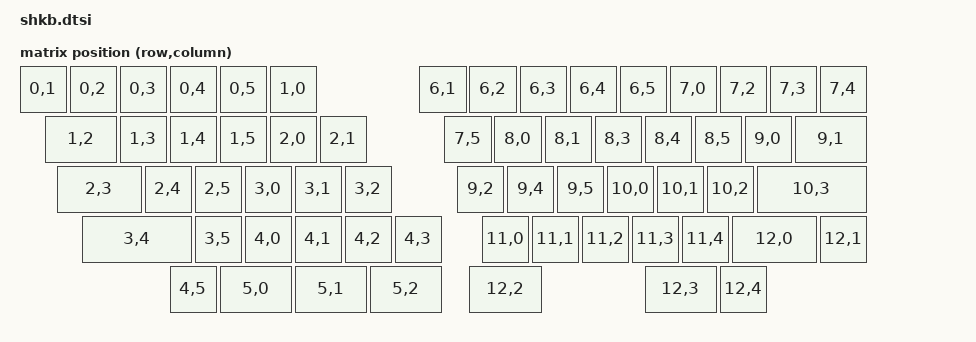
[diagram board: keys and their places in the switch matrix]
#include <dt-bindings/zmk/matrix_transform.h>
#include <physical_layouts.dtsi>

/ {
    chosen {
        /* zmk,matrix-transform and zmk,kscan are set per-shield in each overlay.
         * Keeping them here would prevent ZMK Studio (USE_PHY_LAYOUTS requires
         * zmk,matrix-transform to be absent from chosen). */
    };

    /* ==========================================================================
       Matrix transform – 62-key split HHKB (rows 0-5 = left, 6-12 = right)
       ========================================================================== */
    default_transform: matrix_transform {
        compatible = "zmk,matrix-transform";
        columns = <6>;
        rows = <13>;
        map = <
        RC(0,1)  RC(0,2)  RC(0,3)  RC(0,4)  RC(0,5)  RC(1,0)    RC(6,1)  RC(6,2)  RC(6,3)  RC(6,4)  RC(6,5)  RC(7,0)  RC(7,2)  RC(7,3)  RC(7,4)
        RC(1,2)  RC(1,3)  RC(1,4)  RC(1,5)  RC(2,0)  RC(2,1)    RC(7,5)  RC(8,0)  RC(8,1)  RC(8,3)  RC(8,4)  RC(8,5)  RC(9,0)  RC(9,1)
        RC(2,3)  RC(2,4)  RC(2,5)  RC(3,0)  RC(3,1)  RC(3,2)    RC(9,2)  RC(9,4)  RC(9,5)  RC(10,0) RC(10,1) RC(10,2) RC(10,3)
        RC(3,4)  RC(3,5)  RC(4,0)  RC(4,1)  RC(4,2)  RC(4,3)    RC(11,0) RC(11,1) RC(11,2) RC(11,3) RC(11,4) RC(12,0) RC(12,1)
                          RC(4,5)  RC(5,0)  RC(5,1)  RC(5,2)                       RC(12,2) RC(12,3) RC(12,4)
        >;
    };

    /* ==========================================================================
       Physical layout for Keymap Editor (zmk,physical-layout)
       Key order matches default_transform map exactly (62 keys).
       Coordinates in centikeyunit (100 = 1 key-unit).
         Row stagger: row0=0  row1=+50  row2=+75  row3=+125
         Left/right gap: 200 units (2u)
         Thumb row: pushed inward toward the split center
       ZMK v0.3 does not process these nodes, but the Keymap Editor
       reads them from the DTS source to render the layout.
       ========================================================================== */
    physical_layout_default: physical_layout_default {
        compatible = "zmk,physical-layout";
        display-name = "Default";
        transform = <&default_transform>;
        keys  //                     w   h     x     y   rot  rx  ry
            /* ── Row 0 : number row (stagger 0) ──────────────────── */
            /* left  : ESC 1 2 3 4 5 */
            = <&key_physical_attrs 100 100     0     0     0   0   0>
            , <&key_physical_attrs 100 100   100     0     0   0   0>
            , <&key_physical_attrs 100 100   200     0     0   0   0>
            , <&key_physical_attrs 100 100   300     0     0   0   0>
            , <&key_physical_attrs 100 100   400     0     0   0   0>
            , <&key_physical_attrs 100 100   500     0     0   0   0>
            /* right : 6 7 8 9 0 - = \ ` */
            , <&key_physical_attrs 100 100   800     0     0   0   0>
            , <&key_physical_attrs 100 100   900     0     0   0   0>
            , <&key_physical_attrs 100 100  1000     0     0   0   0>
            , <&key_physical_attrs 100 100  1100     0     0   0   0>
            , <&key_physical_attrs 100 100  1200     0     0   0   0>
            , <&key_physical_attrs 100 100  1300     0     0   0   0>
            , <&key_physical_attrs 100 100  1400     0     0   0   0>
            , <&key_physical_attrs 100 100  1500     0     0   0   0>
            , <&key_physical_attrs 100 100  1600     0     0   0   0>
            /* ── Row 1 : QWERTY row (stagger +50) ────────────────── */
            /* left  : TAB(1.5u) Q W E R T */
            , <&key_physical_attrs 150 100    50   100     0   0   0>
            , <&key_physical_attrs 100 100   200   100     0   0   0>
            , <&key_physical_attrs 100 100   300   100     0   0   0>
            , <&key_physical_attrs 100 100   400   100     0   0   0>
            , <&key_physical_attrs 100 100   500   100     0   0   0>
            , <&key_physical_attrs 100 100   600   100     0   0   0>
            /* right : Y U I O P [ ] BSPC(1.5u) */
            , <&key_physical_attrs 100 100   850   100     0   0   0>
            , <&key_physical_attrs 100 100   950   100     0   0   0>
            , <&key_physical_attrs 100 100  1050   100     0   0   0>
            , <&key_physical_attrs 100 100  1150   100     0   0   0>
            , <&key_physical_attrs 100 100  1250   100     0   0   0>
            , <&key_physical_attrs 100 100  1350   100     0   0   0>
            , <&key_physical_attrs 100 100  1450   100     0   0   0>
            , <&key_physical_attrs 150 100  1550   100     0   0   0>
            /* ── Row 2 : home row (stagger +75) ──────────────────── */
            /* left  : CTRL(1.75u) A S D F G */
            , <&key_physical_attrs 175 100    75   200     0   0   0>
            , <&key_physical_attrs 100 100   250   200     0   0   0>
            , <&key_physical_attrs 100 100   350   200     0   0   0>
            , <&key_physical_attrs 100 100   450   200     0   0   0>
            , <&key_physical_attrs 100 100   550   200     0   0   0>
            , <&key_physical_attrs 100 100   650   200     0   0   0>
            /* right : H J K L ; ' ENT(2.25u) */
            , <&key_physical_attrs 100 100   875   200     0   0   0>
            , <&key_physical_attrs 100 100   975   200     0   0   0>
            , <&key_physical_attrs 100 100  1075   200     0   0   0>
            , <&key_physical_attrs 100 100  1175   200     0   0   0>
            , <&key_physical_attrs 100 100  1275   200     0   0   0>
            , <&key_physical_attrs 100 100  1375   200     0   0   0>
            , <&key_physical_attrs 225 100  1475   200     0   0   0>
            /* ── Row 3 : bottom alpha row (stagger +125) ──────────── */
            /* left  : SHIFT(2.25u) Z X C V B */
            , <&key_physical_attrs 225 100   125   300     0   0   0>
            , <&key_physical_attrs 100 100   350   300     0   0   0>
            , <&key_physical_attrs 100 100   450   300     0   0   0>
            , <&key_physical_attrs 100 100   550   300     0   0   0>
            , <&key_physical_attrs 100 100   650   300     0   0   0>
            , <&key_physical_attrs 100 100   750   300     0   0   0>
            /* right : N M , . / RSHFT(1.75u) UP */
            , <&key_physical_attrs 100 100   925   300     0   0   0>
            , <&key_physical_attrs 100 100  1025   300     0   0   0>
            , <&key_physical_attrs 100 100  1125   300     0   0   0>
            , <&key_physical_attrs 100 100  1225   300     0   0   0>
            , <&key_physical_attrs 100 100  1325   300     0   0   0>
            , <&key_physical_attrs 175 100  1425   300     0   0   0>
            , <&key_physical_attrs 100 100  1600   300     0   0   0>
            /* ── Row 4 : thumb cluster (pushed toward split center) ── */
            /* left  : FN(1u) LCTRL(1.5u) LALT(1.5u) SPC(1.5u) — right-aligned */
            , <&key_physical_attrs 100 100   300   400     0   0   0>
            , <&key_physical_attrs 150 100   400   400     0   0   0>
            , <&key_physical_attrs 150 100   550   400     0   0   0>
            , <&key_physical_attrs 150 100   700   400     0   0   0>
            /* right : RALT(1.5u) [trackball 2u gap] RGUI(1.5u) RCTRL(1u) */
            , <&key_physical_attrs 150 100   900   400     0   0   0>
            , <&key_physical_attrs 150 100  1250   400     0   0   0>
            , <&key_physical_attrs 100 100  1400   400     0   0   0>
            ;
    };

    split_inputs {
        #address-cells = <1>;
        #size-cells = <0>;

        trackball_peripheral_split: trackball_peripheral_split@0 {
            compatible = "zmk,input-split";
            reg = <0>;
        };
    };
};

/* XIAO nRF52840 battery voltage divider — standard values.
 * R_top = 1MΩ (VBAT → P0.31/AIN7), R_bottom = 510kΩ (P0.31 → GND via P0.14 open-drain LOW)
 * Maps 4.2V (full LiPo) → 100%, 3.45V → 0%.
 */
&vbatt {
    output-ohms = <510000>;
    full-ohms = <1510000>;
};
